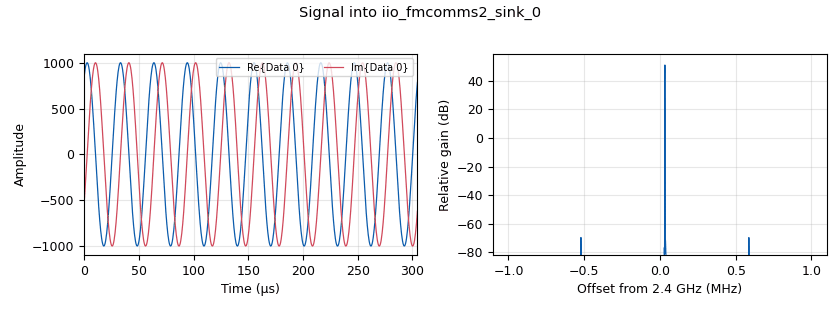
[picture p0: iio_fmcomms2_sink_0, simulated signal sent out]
<?xml version='1.0' encoding='utf-8'?>
<?grc format='1' created='3.7.11'?>
<flow_graph>
<block>
<key>options</key>
<param><key>id</key><value>top_block</value></param>
<param><key>category</key><value>Custom</value></param>
<param><key>generate_options</key><value>qt_gui</value></param>
<param><key>realtime_scheduling</key><value>1</value></param>
</block>
<block>
<key>variable</key>
<param><key>id</key><value>period_samples</value></param>
<param><key>value</key><value>0x8000</value></param>
</block>
<block>
<key>variable</key>
<param><key>id</key><value>samp_rate</value></param>
<param><key>value</key><value>2200000</value></param>
</block>
<block>
<key>analog_sig_source_x</key>
<param><key>id</key><value>analog_sig_source_x_0</value></param>
<param><key>amp</key><value>1000</value></param>
<param><key>freq</key><value>period_samples</value></param>
<param><key>offset</key><value>0</value></param>
<param><key>type</key><value>complex</value></param>
<param><key>samp_rate</key><value>samp_rate</value></param>
<param><key>waveform</key><value>analog.GR_SIN_WAVE</value></param>
</block>
<block>
<key>iio_fmcomms2_sink</key>
<param><key>id</key><value>iio_fmcomms2_sink_0</value></param>
<param><key>buffer_size</key><value>period_samples</value></param>
<param><key>cyclic</key><value>True</value></param>
<param><key>auto_filter</key><value>True</value></param>
<param><key>uri</key><value>uri</value></param>
<param><key>interpolation</key><value>1</value></param>
<param><key>frequency</key><value>2400000000</value></param>
<param><key>rf_port_select</key><value>"A"</value></param>
<param><key>bandwidth</key><value>200000</value></param>
<param><key>samplerate</key><value>samp_rate</value></param>
<param><key>tx1_en</key><value>True</value></param>
<param><key>tx2_en</key><value>False</value></param>
</block>
<block>
<key>iio_fmcomms2_source</key>
<param><key>id</key><value>iio_fmcomms2_source_0</value></param>
<param><key>bbdc</key><value>True</value></param>
<param><key>buffer_size</key><value>0x8000</value></param>
<param><key>decimation</key><value>1</value></param>
<param><key>auto_filter</key><value>True</value></param>
<param><key>gain1</key><value>"manual"</value></param>
<param><key>uri</key><value>uri</value></param>
<param><key>frequency</key><value>2400000000</value></param>
<param><key>manual_gain1</key><value>64.0</value></param>
<param><key>quadrature</key><value>True</value></param>
<param><key>rfdc</key><value>True</value></param>
<param><key>rf_port_select</key><value>"A_BALANCED"</value></param>
<param><key>bandwidth</key><value>200000</value></param>
<param><key>rx1_en</key><value>True</value></param>
<param><key>rx2_en</key><value>False</value></param>
<param><key>samplerate</key><value>samp_rate</value></param>
</block>
<block>
<key>qtgui_sink_x</key>
<param><key>id</key><value>qtgui_sink_x_0</value></param>
<param><key>bw</key><value>samp_rate</value></param>
<param><key>fc</key><value>2400000000</value></param>
<param><key>freqchangevar</key><value>None</value></param>
<param><key>fftsize</key><value>1024</value></param>
<param><key>showports</key><value>True</value></param>
<param><key>type</key><value>complex</value></param>
<param><key>wintype</key><value>firdes.WIN_BLACKMAN_hARRIS</value></param>
</block>
<block>
<key>parameter</key>
<param><key>id</key><value>uri</value></param>
<param><key>label</key><value>URI</value></param>
<param><key>type</key><value>string</value></param>
<param><key>value</key><value>'ip:analog.local'</value></param>
</block>
<connection><source_block_id>analog_sig_source_x_0</source_block_id><sink_block_id>iio_fmcomms2_sink_0</sink_block_id><source_key>0</source_key><sink_key>0</sink_key></connection>
<connection><source_block_id>iio_fmcomms2_source_0</source_block_id><sink_block_id>qtgui_sink_x_0</sink_block_id><source_key>0</source_key><sink_key>0</sink_key></connection>
</flow_graph>
